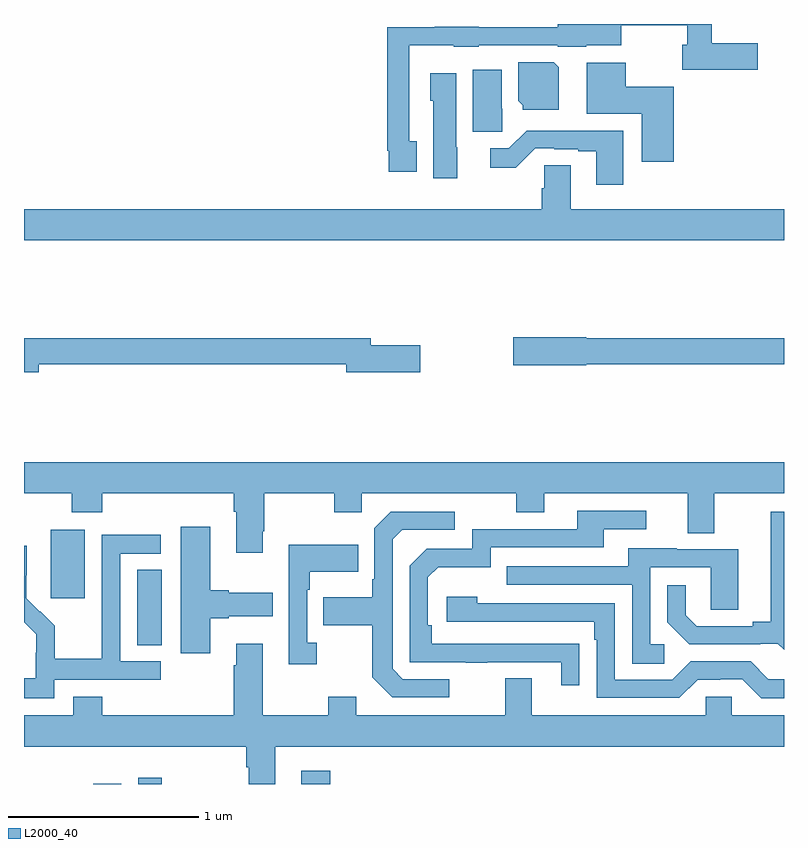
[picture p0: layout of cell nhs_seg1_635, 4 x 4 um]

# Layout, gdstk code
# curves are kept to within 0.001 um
import gdstk
lib = gdstk.Library(unit=1e-6, precision=1e-09)
def R(c, l, rs):  # rectangles x0, y0, x1, y1
    for r in rs: c.add(gdstk.rectangle(r[:2], r[2:], *l))
def P(c, l, *ps):  # polygons
    for p in ps: c.add(gdstk.Polygon(p, *l))
L2000_40 = (2000, 40)

nhs_seg1_635 = lib.new_cell('nhs_seg1_635')
R(nhs_seg1_635, L2000_40, [(145.365,554.199,145.513,554.2), (145.601,554.199,145.726,554.233), (146.459,554.199,146.612,554.269), (145.595,554.929,145.726,555.326), (145.142,555.177,145.321,555.538)])
P(nhs_seg1_635, L2000_40, [(147.067,557.582),(147.027,557.582),(147.027,558.086),(147.261,558.086),(147.261,558.08),(147.393,558.08),(147.393,558.087),(147.81,558.087),(147.81,558.08),(147.96,558.08),(147.96,558.086),(148.144,558.086),(148.144,558.192),(148.491,558.192),(148.491,558.091),(148.465,558.091),(148.465,557.957),(148.861,557.957),(148.861,558.099),(148.619,558.099),(148.619,558.199),(147.81,558.199),(147.81,558.183),(147.393,558.183),(147.393,558.185),(147.161,558.185),(147.161,558.183),(146.911,558.183),(146.911,557.533),(146.919,557.533),(146.919,557.421),(147.067,557.421)],
  [(147.814,557.972),(147.788,557.998),(147.602,557.998),(147.602,557.794),(147.624,557.772),(147.624,557.747),(147.814,557.747)],
  [(148.421,557.869),(148.168,557.869),(148.168,557.996),(147.962,557.996),(147.962,557.726),(148.25,557.726),(148.25,557.475),(148.421,557.475)],
  [(147.518,557.754),(147.514,557.754),(147.514,557.959),(147.362,557.959),(147.362,557.631),(147.518,557.631)],
  [(147.28,557.55),(147.274,557.55),(147.274,557.941),(147.137,557.941),(147.137,557.796),(147.155,557.796),(147.155,557.388),(147.28,557.388)],
  [(148.153,557.638),(147.646,557.638),(147.552,557.544),(147.453,557.544),(147.453,557.442),(147.588,557.442),(147.69,557.544),(147.79,557.544),(147.79,557.541),(147.917,557.541),(147.917,557.529),(148.013,557.529),(148.013,557.352),(148.153,557.352)],
  [(149,557.224),(147.877,557.224),(147.877,557.456),(147.738,557.456),(147.738,557.334),(147.725,557.334),(147.725,557.224),(145,557.224),(145,557.06),(149,557.06)],
  [(147.96,556.408),(149,556.408),(149,556.544),(147.96,556.544),(147.96,556.55),(147.576,556.55),(147.576,556.403),(147.96,556.403)],
  [(145.078,556.408),(146.696,556.408),(146.696,556.366),(147.085,556.366),(147.085,556.508),(146.824,556.508),(146.824,556.544),(145,556.544),(145,556.366),(145.078,556.366)],
  [(146.257,555.529),(146.265,555.529),(146.265,555.728),(146.632,555.728),(146.632,555.629),(146.778,555.629),(146.778,555.728),(147.592,555.728),(147.592,555.629),(147.739,555.629),(147.739,555.728),(148.493,555.728),(148.493,555.52),(148.633,555.52),(148.633,555.728),(149,555.728),(149,555.892),(145,555.892),(145,555.728),(145.252,555.728),(145.252,555.629),(145.412,555.629),(145.412,555.728),(146.105,555.728),(146.105,555.632),(146.117,555.632),(146.117,555.417),(146.257,555.417)],
  [(147.923,554.936),(147.146,554.937),(147.146,555.034),(147.126,555.034),(147.126,555.288),(147.179,555.341),(147.456,555.341),(147.456,555.444),(148.051,555.444),(148.051,555.54),(148.276,555.54),(148.276,555.636),(147.911,555.636),(147.911,555.54),(147.36,555.54),(147.36,555.438),(147.12,555.438),(147.03,555.348),(147.03,554.841),(147.325,554.841),(147.325,554.836),(147.437,554.836),(147.437,554.841),(147.827,554.841),(147.827,554.718),(147.923,554.718)],
  [(149,555.633),(148.931,555.633),(148.931,555.053),(148.835,555.053),(148.835,555.03),(148.54,555.03),(148.483,555.087),(148.483,555.244),(148.386,555.244),(148.386,555.05),(148.502,554.934),(148.874,554.934),(148.874,554.937),(148.968,554.937),(149,554.905)],
  [(147.238,554.751),(146.994,554.751),(146.94,554.805),(146.94,555.486),(146.991,555.537),(147.268,555.537),(147.268,555.633),(146.931,555.633),(146.844,555.546),(146.844,555.277),(146.832,555.277),(146.832,555.181),(146.575,555.181),(146.575,555.034),(146.832,555.034),(146.832,554.761),(146.937,554.655),(147.238,554.655)],
  [(145.981,555.071),(146.077,555.071),(146.077,555.083),(146.308,555.083),(146.308,555.205),(146.077,555.205),(146.077,555.218),(145.981,555.218),(145.981,555.553),(145.826,555.553),(145.826,554.886),(145.981,554.886)],
  [(145.158,554.748),(145.72,554.748),(145.72,554.844),(145.506,554.844),(145.506,555.411),(145.72,555.411),(145.72,555.51),(145.41,555.51),(145.41,555.08),(145.408,555.08),(145.408,554.857),(145.163,554.857),(145.163,555.031),(145.086,555.108),(145.083,555.105),(145.013,555.176),(145.014,555.452),(145,555.452),(145,555.05),(145.064,554.986),(145.064,554.889),(145.062,554.889),(145.062,554.755),(145,554.755),(145,554.651),(145.158,554.651)],
  [(146.542,554.942),(146.49,554.942),(146.49,555.221),(146.503,555.221),(146.503,555.317),(146.759,555.317),(146.759,555.457),(146.394,555.457),(146.394,554.829),(146.542,554.829)],
  [(148.369,554.934),(148.296,554.934),(148.296,555.339),(148.614,555.339),(148.614,555.115),(148.759,555.115),(148.759,555.435),(148.435,555.435),(148.435,555.439),(148.181,555.439),(148.181,555.345),(147.541,555.345),(147.541,555.249),(148.2,555.249),(148.2,554.833),(148.369,554.833)],
  [(149,554.751),(148.917,554.751),(148.824,554.844),(148.509,554.844),(148.413,554.748),(148.11,554.748),(148.11,555.15),(147.386,555.15),(147.386,555.184),(147.225,555.184),(147.225,555.054),(148.001,555.054),(148.001,554.957),(148.014,554.957),(148.014,554.652),(148.449,554.652),(148.545,554.748),(148.664,554.748),(148.664,554.751),(148.779,554.751),(148.879,554.651),(149,554.651)],
  [(146.323,554.396),(149,554.396),(149,554.56),(148.725,554.56),(148.725,554.658),(148.587,554.658),(148.587,554.56),(147.673,554.56),(147.673,554.755),(147.533,554.755),(147.533,554.56),(146.749,554.56),(146.749,554.659),(146.602,554.659),(146.602,554.56),(146.257,554.56),(146.257,554.938),(146.117,554.938),(146.117,554.825),(146.105,554.825),(146.105,554.56),(145.412,554.56),(145.412,554.659),(145.259,554.659),(145.259,554.56),(145,554.56),(145,554.396),(146.171,554.396),(146.171,554.286),(146.184,554.286),(146.184,554.199),(146.323,554.199)])

lib.write_gds('nhs_seg1_635.gds')
